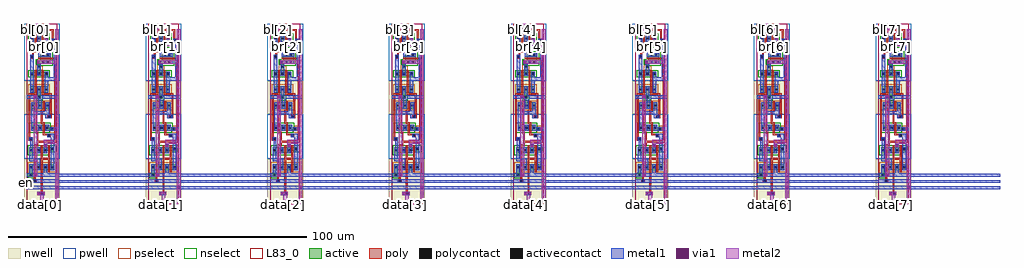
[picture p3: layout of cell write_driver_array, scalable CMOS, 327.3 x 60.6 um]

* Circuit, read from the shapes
.subckt write_driver_array bl[0] bl[1] bl[2] bl[3] bl[4] bl[5] bl[6] bl[7] br[0] br[1] br[2] br[3] br[4] br[5] br[6] br[7] data[0] data[1] data[2] data[3] data[4] data[5] data[6] data[7] en gnd vdd
M1 n1 en n2 gnd nfet w=2.1u l=0.6u
M2 gnd n2 n3 gnd nfet w=1.2u l=0.6u
M3 n4 n5 bl[0] gnd nfet w=3.6u l=0.6u
M4 n6 en n7 gnd nfet w=2.1u l=0.6u
M5 n4 en gnd gnd nfet w=3.6u l=0.6u
M6 gnd data[0] n1 gnd nfet w=2.1u l=0.6u
M7 n5 n7 gnd gnd nfet w=1.2u l=0.6u
M8 br[0] n3 n4 gnd nfet w=3.6u l=0.6u
M9 gnd n8 n6 gnd nfet w=2.1u l=0.6u
M10 n8 data[0] gnd gnd nfet w=1.2u l=0.6u
M11 n9 en n10 gnd nfet w=2.1u l=0.6u
M12 gnd n10 n11 gnd nfet w=1.2u l=0.6u
M13 n12 n13 bl[1] gnd nfet w=3.6u l=0.6u
M14 n14 en n15 gnd nfet w=2.1u l=0.6u
M15 n12 en gnd gnd nfet w=3.6u l=0.6u
M16 gnd data[1] n9 gnd nfet w=2.1u l=0.6u
M17 n13 n15 gnd gnd nfet w=1.2u l=0.6u
M18 br[1] n11 n12 gnd nfet w=3.6u l=0.6u
M19 gnd n16 n14 gnd nfet w=2.1u l=0.6u
M20 n16 data[1] gnd gnd nfet w=1.2u l=0.6u
M21 n17 en n18 gnd nfet w=2.1u l=0.6u
M22 gnd n18 n19 gnd nfet w=1.2u l=0.6u
M23 n20 n21 bl[2] gnd nfet w=3.6u l=0.6u
M24 n22 en n23 gnd nfet w=2.1u l=0.6u
M25 n20 en gnd gnd nfet w=3.6u l=0.6u
M26 gnd data[2] n17 gnd nfet w=2.1u l=0.6u
M27 n21 n23 gnd gnd nfet w=1.2u l=0.6u
M28 br[2] n19 n20 gnd nfet w=3.6u l=0.6u
M29 gnd n24 n22 gnd nfet w=2.1u l=0.6u
M30 n24 data[2] gnd gnd nfet w=1.2u l=0.6u
M31 n25 en n26 gnd nfet w=2.1u l=0.6u
M32 gnd n26 n27 gnd nfet w=1.2u l=0.6u
M33 n28 n29 bl[3] gnd nfet w=3.6u l=0.6u
M34 n30 en n31 gnd nfet w=2.1u l=0.6u
M35 n28 en gnd gnd nfet w=3.6u l=0.6u
M36 gnd data[3] n25 gnd nfet w=2.1u l=0.6u
M37 n29 n31 gnd gnd nfet w=1.2u l=0.6u
M38 br[3] n27 n28 gnd nfet w=3.6u l=0.6u
M39 gnd n32 n30 gnd nfet w=2.1u l=0.6u
M40 n32 data[3] gnd gnd nfet w=1.2u l=0.6u
M41 n33 en n34 gnd nfet w=2.1u l=0.6u
M42 gnd n34 n35 gnd nfet w=1.2u l=0.6u
M43 n36 n37 bl[4] gnd nfet w=3.6u l=0.6u
M44 n38 en n39 gnd nfet w=2.1u l=0.6u
M45 n36 en gnd gnd nfet w=3.6u l=0.6u
M46 gnd data[4] n33 gnd nfet w=2.1u l=0.6u
M47 n37 n39 gnd gnd nfet w=1.2u l=0.6u
M48 br[4] n35 n36 gnd nfet w=3.6u l=0.6u
M49 gnd n40 n38 gnd nfet w=2.1u l=0.6u
M50 n40 data[4] gnd gnd nfet w=1.2u l=0.6u
M51 n41 en n42 gnd nfet w=2.1u l=0.6u
M52 gnd n42 n43 gnd nfet w=1.2u l=0.6u
M53 n44 n45 bl[5] gnd nfet w=3.6u l=0.6u
M54 n46 en n47 gnd nfet w=2.1u l=0.6u
M55 n44 en gnd gnd nfet w=3.6u l=0.6u
M56 gnd data[5] n41 gnd nfet w=2.1u l=0.6u
M57 n45 n47 gnd gnd nfet w=1.2u l=0.6u
M58 br[5] n43 n44 gnd nfet w=3.6u l=0.6u
M59 gnd n48 n46 gnd nfet w=2.1u l=0.6u
M60 n48 data[5] gnd gnd nfet w=1.2u l=0.6u
M61 n49 en n50 gnd nfet w=2.1u l=0.6u
M62 gnd n50 n51 gnd nfet w=1.2u l=0.6u
M63 n52 n53 bl[6] gnd nfet w=3.6u l=0.6u
M64 n54 en n55 gnd nfet w=2.1u l=0.6u
M65 n52 en gnd gnd nfet w=3.6u l=0.6u
M66 gnd data[6] n49 gnd nfet w=2.1u l=0.6u
M67 n53 n55 gnd gnd nfet w=1.2u l=0.6u
M68 br[6] n51 n52 gnd nfet w=3.6u l=0.6u
M69 gnd n56 n54 gnd nfet w=2.1u l=0.6u
M70 n56 data[6] gnd gnd nfet w=1.2u l=0.6u
M71 n57 en n58 gnd nfet w=2.1u l=0.6u
M72 gnd n58 n59 gnd nfet w=1.2u l=0.6u
M73 n60 n61 bl[7] gnd nfet w=3.6u l=0.6u
M74 n62 en n63 gnd nfet w=2.1u l=0.6u
M75 n60 en gnd gnd nfet w=3.6u l=0.6u
M76 gnd data[7] n57 gnd nfet w=2.1u l=0.6u
M77 n61 n63 gnd gnd nfet w=1.2u l=0.6u
M78 br[7] n59 n60 gnd nfet w=3.6u l=0.6u
M79 gnd n64 n62 gnd nfet w=2.1u l=0.6u
M80 n64 data[7] gnd gnd nfet w=1.2u l=0.6u
M81 n2 en vdd vdd pfet w=2.1u l=0.6u
M82 vdd n2 n3 vdd pfet w=2.1u l=0.6u
M83 vdd en n7 vdd pfet w=2.1u l=0.6u
M84 vdd data[0] n2 vdd pfet w=2.1u l=0.6u
M85 n5 n7 vdd vdd pfet w=2.1u l=0.6u
M86 n7 n8 vdd vdd pfet w=2.1u l=0.6u
M87 n8 data[0] vdd vdd pfet w=2.1u l=0.6u
M88 n10 en vdd vdd pfet w=2.1u l=0.6u
M89 vdd n10 n11 vdd pfet w=2.1u l=0.6u
M90 vdd en n15 vdd pfet w=2.1u l=0.6u
M91 vdd data[1] n10 vdd pfet w=2.1u l=0.6u
M92 n13 n15 vdd vdd pfet w=2.1u l=0.6u
M93 n15 n16 vdd vdd pfet w=2.1u l=0.6u
M94 n16 data[1] vdd vdd pfet w=2.1u l=0.6u
M95 n18 en vdd vdd pfet w=2.1u l=0.6u
M96 vdd n18 n19 vdd pfet w=2.1u l=0.6u
M97 vdd en n23 vdd pfet w=2.1u l=0.6u
M98 vdd data[2] n18 vdd pfet w=2.1u l=0.6u
M99 n21 n23 vdd vdd pfet w=2.1u l=0.6u
M100 n23 n24 vdd vdd pfet w=2.1u l=0.6u
M101 n24 data[2] vdd vdd pfet w=2.1u l=0.6u
M102 n26 en vdd vdd pfet w=2.1u l=0.6u
M103 vdd n26 n27 vdd pfet w=2.1u l=0.6u
M104 vdd en n31 vdd pfet w=2.1u l=0.6u
M105 vdd data[3] n26 vdd pfet w=2.1u l=0.6u
M106 n29 n31 vdd vdd pfet w=2.1u l=0.6u
M107 n31 n32 vdd vdd pfet w=2.1u l=0.6u
M108 n32 data[3] vdd vdd pfet w=2.1u l=0.6u
M109 n34 en vdd vdd pfet w=2.1u l=0.6u
M110 vdd n34 n35 vdd pfet w=2.1u l=0.6u
M111 vdd en n39 vdd pfet w=2.1u l=0.6u
M112 vdd data[4] n34 vdd pfet w=2.1u l=0.6u
M113 n37 n39 vdd vdd pfet w=2.1u l=0.6u
M114 n39 n40 vdd vdd pfet w=2.1u l=0.6u
M115 n40 data[4] vdd vdd pfet w=2.1u l=0.6u
M116 n42 en vdd vdd pfet w=2.1u l=0.6u
M117 vdd n42 n43 vdd pfet w=2.1u l=0.6u
M118 vdd en n47 vdd pfet w=2.1u l=0.6u
M119 vdd data[5] n42 vdd pfet w=2.1u l=0.6u
M120 n45 n47 vdd vdd pfet w=2.1u l=0.6u
M121 n47 n48 vdd vdd pfet w=2.1u l=0.6u
M122 n48 data[5] vdd vdd pfet w=2.1u l=0.6u
M123 n50 en vdd vdd pfet w=2.1u l=0.6u
M124 vdd n50 n51 vdd pfet w=2.1u l=0.6u
M125 vdd en n55 vdd pfet w=2.1u l=0.6u
M126 vdd data[6] n50 vdd pfet w=2.1u l=0.6u
M127 n53 n55 vdd vdd pfet w=2.1u l=0.6u
M128 n55 n56 vdd vdd pfet w=2.1u l=0.6u
M129 n56 data[6] vdd vdd pfet w=2.1u l=0.6u
M130 n58 en vdd vdd pfet w=2.1u l=0.6u
M131 vdd n58 n59 vdd pfet w=2.1u l=0.6u
M132 vdd en n63 vdd pfet w=2.1u l=0.6u
M133 vdd data[7] n58 vdd pfet w=2.1u l=0.6u
M134 n61 n63 vdd vdd pfet w=2.1u l=0.6u
M135 n63 n64 vdd vdd pfet w=2.1u l=0.6u
M136 n64 data[7] vdd vdd pfet w=2.1u l=0.6u
.ends

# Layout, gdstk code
import gdstk
lib = gdstk.Library(unit=1e-6, precision=1e-09)
def R(c, l, rs):  # rectangles x0, y0, x1, y1
    for r in rs: c.add(gdstk.rectangle(r[:2], r[2:], *l))
def A(c, l, x, y, w, h, nx, ny, dx, dy):  # array of equal rectangles
    R(c, l, [(x+i*dx, y+j*dy, x+i*dx+w, y+j*dy+h) for i in range(nx) for j in range(ny)])
pwell = (41, 0)
nwell = (42, 0)
active = (43, 0)
pselect = (44, 0)
nselect = (45, 0)
poly = (46, 0)
polycontact = (47, 0)
activecontact = (48, 0)
metal1 = (49, 0)
via1 = (50, 0)
metal2 = (51, 0)
L83_0 = (83, 0)

write_driver = lib.new_cell('write_driver')
R(write_driver, pwell, [(-0.9,15.3,11.1,30.3), (-0.9,41.4,11.1,60.6)])
R(write_driver, nwell, [(-0.9,0,11.1,15.3), (-0.9,30.3,11.1,41.4)])
R(write_driver, active, [(0.9,9.3,2.1,11.4), (0.9,11.4,9.3,13.5), (0.9,17.1,6.9,18), (0.9,18,9.3,19.2), (1.5,24.6,9,25.8), (1.5,25.8,7.5,26.7), (1.5,32.1,7.5,34.2), (3.6,35.4,4.8,37.5), (1.2,37.5,7.2,39.6), (1.2,43.2,7.2,44.4), (3.6,45.6,4.8,47.1), (3.6,47.1,8.1,48), (4.5,48,8.1,50.7), (1.2,53.1,7.2,56.7)])
R(write_driver, pselect, [(0.3,10.5,2.7,10.8), (0.3,10.8,9.9,14.1), (7.8,24,9.6,25.8), (8.1,25.8,9.6,26.4), (0.9,31.5,8.1,34.8), (3,36.6,5.4,36.9), (0.6,36.9,7.8,40.2), (3,45,5.4,46.5), (3,46.5,4.8,46.8)])
R(write_driver, nselect, [(0.3,8.7,2.7,10.5), (0.3,16.5,7.5,17.4), (0.3,17.4,9.9,19.8), (0.9,24,7.8,25.8), (0.9,25.8,8.1,27.3), (3,34.8,5.4,36.6), (0.6,42.6,7.8,45), (4.8,46.5,8.7,46.8), (3,46.8,8.7,48.6), (3.9,48.6,8.7,51.3), (0.6,52.5,7.8,57.3)])
R(write_driver, poly, [(4.8,3,6,4.2), (4.8,4.2,5.4,15), (2.1,7.2,3.3,8.4), (2.4,8.4,3,19.5), (7.2,10.8,7.8,15), (4.8,15,7.8,15.6), (4.8,15.6,5.4,19.8), (7.2,15.6,7.8,19.8), (2.4,19.5,3.9,20.1), (3.3,20.1,3.9,20.7), (3.3,20.7,9.9,21.3), (0.6,21.3,2.1,22.5), (3.3,21.3,3.9,23.7), (9.3,21.3,9.9,48.6), (0.6,22.5,1.2,36.6), (6.9,22.5,8.1,23.1), (5.4,23.1,8.1,23.7), (3,23.7,3.9,24.3), (5.4,23.7,6,27), (3,24.3,3.6,34.8), (4.8,27,6,27.6), (4.8,27.6,5.4,31.2), (6.9,28.8,8.4,30), (7.8,30,8.4,36.6), (4.8,31.2,6,31.8), (5.4,31.8,6,34.8), (0.6,36.6,3.3,37.2), (5.1,36.6,8.4,37.2), (2.7,37.2,3.3,45), (5.1,37.2,5.7,45), (3.9,48.6,9.9,49.2), (1.2,48.9,2.4,50.1), (1.8,50.1,2.4,51), (1.8,51,5.7,51.6), (5.1,51.6,5.7,57.3), (2.7,52.5,3.3,58.2), (8.4,54.3,9.6,55.5), (8.4,55.5,9,58.2), (2.7,58.2,9,58.8)])
R(write_driver, polycontact, [(5.1,3.3,5.7,3.9), (2.4,7.5,3,8.1), (1.2,21.6,1.8,22.2), (7.2,22.8,7.8,23.4), (7.2,29.1,7.8,29.7), (1.5,49.2,2.1,49.8), (8.7,54.6,9.3,55.2)])
A(write_driver, activecontact, 1.2, 12.15, 0.6, 0.6, 4, 1, 2.4, 0)
A(write_driver, activecontact, 1.2, 17.85, 0.6, 0.6, 3, 1, 2.4, 0)
A(write_driver, activecontact, 1.8, 25.35, 0.6, 0.6, 3, 2, 2.4, 7.5)
A(write_driver, activecontact, 1.5, 38.25, 0.6, 0.6, 3, 2, 2.4, 5.25)
A(write_driver, activecontact, 1.5, 53.85, 0.6, 0.6, 3, 2, 2.4, 1.5)
R(write_driver, activecontact, [(1.2,9.6,1.8,10.2), (8.4,18.3,9,18.9), (8.1,24.9,8.7,25.5), (3.9,35.7,4.5,36.3), (3.9,45.9,4.5,46.5), (5.25,47.4,5.85,48), (6.75,47.4,7.35,48), (5.25,49.8,5.85,50.4), (6.75,49.8,7.35,50.4)])
R(write_driver, metal1, [(3.6,3,6,4.2), (0,5.1,10.8,6.3), (0,5.1,10.8,6.3), (0,7.2,10.8,8.4), (0,7.2,10.8,8.4), (0,9.3,10.8,10.5), (0,9.3,10.8,10.5), (0.9,10.5,2.1,13.5), (5.7,10.5,6.9,13.5), (3.3,11.4,4.5,14.4), (8.1,11.4,9.3,22.5), (0.9,14.4,4.5,15.3), (0.9,15.3,2.1,19.2), (3.3,17.1,4.5,19.2), (5.7,17.1,6.9,20.4), (1.2,19.2,2.1,21.3), (0.9,21.3,2.1,22.5), (6.9,22.5,9.3,23.7), (1.5,24.6,2.7,30.3), (3.9,24.6,5.1,26.7), (6.3,24.6,10.2,25.8), (6.3,25.8,7.5,26.7), (6.3,28.8,8.1,30), (6.3,30,7.5,30.3), (1.5,30.3,7.5,31.2), (1.5,31.2,2.7,34.2), (6.3,31.2,7.5,34.2), (3.9,32.1,5.1,35.4), (0,35.4,10.8,36.6), (3.6,36.6,4.8,39.6), (1.2,37.5,2.4,50.1), (6,37.5,7.2,41.4), (6,41.4,9.9,42.6), (6,42.6,7.2,44.4), (9,42.6,9.9,54.3), (3.6,43.2,4.8,47.1), (3.3,47.1,8.1,48.3), (3.9,49.5,8.1,50.7), (3.9,50.7,4.8,53.1), (1.2,53.1,2.4,56.7), (3.6,53.1,4.8,56.7), (6,53.1,7.2,57.9), (8.4,54.3,9.9,55.5), (1.5,56.7,2.4,57.3), (1.5,57.3,2.7,58.5)])
R(write_driver, via1, [(3.9,3.3,4.5,3.9), (9.9,5.4,10.5,6), (2.7,9.6,3.3,10.2), (6,19.5,6.6,20.1), (9.3,24.9,9.9,25.5), (2.7,35.7,3.3,36.3), (3.6,47.4,4.2,48), (6.3,57,6.9,57.6), (1.8,57.6,2.4,58.2)])
R(write_driver, metal2, [(4.5,0,5.7,3), (4.5,0,5.7,3), (9.6,0,10.8,20.4), (3.6,3,6,4.2), (2.4,9.3,3.6,36.6), (5.7,19.2,6.9,20.4), (5.7,20.4,10.8,21.6), (9.6,21.6,10.8,24.6), (9,24.6,10.8,25.8), (9.6,25.8,10.8,47.1), (3.3,47.1,10.8,48.3), (9.6,48.3,10.8,58.8), (6,53.1,7.2,60.6), (6,53.1,7.2,60.6), (1.5,57.3,4.2,58.5), (3,58.5,4.2,60.6), (3,58.5,4.2,60.6)])
R(write_driver, L83_0, [(0,0,10.2,60.6)])
write_driver.add(gdstk.Label('vdd', (0,9.3), layer=49, texttype=0))
write_driver.add(gdstk.Label('gnd', (0,5.1), layer=49, texttype=0))
write_driver.add(gdstk.Label('din', (4.5,0.3), layer=51, texttype=0))
write_driver.add(gdstk.Label('en', (0.6,7.5), layer=49, texttype=0))
write_driver.add(gdstk.Label('bl', (3.6,60), layer=51, texttype=0))
write_driver.add(gdstk.Label('br', (6.6,60), layer=51, texttype=0))
write_driver.add(gdstk.Label('din', (4.5,0), layer=51, texttype=0))
write_driver.add(gdstk.Label('en', (0,7.2), layer=49, texttype=0))
write_driver.add(gdstk.Label('br', (6,53.1), layer=51, texttype=0))
write_driver.add(gdstk.Label('bl', (3,58.5), layer=51, texttype=0))
write_driver.add(gdstk.Label('vdd', (0,9.3), layer=49, texttype=0))
write_driver.add(gdstk.Label('gnd', (0,5.1), layer=49, texttype=0))

write_driver_array = lib.new_cell('write_driver_array')
R(write_driver_array, metal1, [(0,5.1,326.4,6), (0,5.1,326.4,6), (0,7.2,326.4,8.1), (0,7.2,326.4,8.1), (0,9.3,326.4,10.2), (0,9.3,326.4,10.2)])
R(write_driver_array, metal2, [(4.5,0,5.7,3), (4.5,0,5.7,3), (45.3,0,46.5,3), (45.3,0,46.5,3), (86.1,0,87.3,3), (86.1,0,87.3,3), (126.9,0,128.1,3), (126.9,0,128.1,3), (167.7,0,168.9,3), (167.7,0,168.9,3), (208.5,0,209.7,3), (208.5,0,209.7,3), (249.3,0,250.5,3), (249.3,0,250.5,3), (290.1,0,291.3,3), (290.1,0,291.3,3), (6,53.1,7.2,60.6), (6,53.1,7.2,60.6), (46.8,53.1,48,60.6), (46.8,53.1,48,60.6), (87.6,53.1,88.8,60.6), (87.6,53.1,88.8,60.6), (128.4,53.1,129.6,60.6), (128.4,53.1,129.6,60.6), (169.2,53.1,170.4,60.6), (169.2,53.1,170.4,60.6), (210,53.1,211.2,60.6), (210,53.1,211.2,60.6), (250.8,53.1,252,60.6), (250.8,53.1,252,60.6), (291.6,53.1,292.8,60.6), (291.6,53.1,292.8,60.6), (3,58.5,4.2,60.6), (3,58.5,4.2,60.6), (43.8,58.5,45,60.6), (43.8,58.5,45,60.6), (84.6,58.5,85.8,60.6), (84.6,58.5,85.8,60.6), (125.4,58.5,126.6,60.6), (125.4,58.5,126.6,60.6), (166.2,58.5,167.4,60.6), (166.2,58.5,167.4,60.6), (207,58.5,208.2,60.6), (207,58.5,208.2,60.6), (247.8,58.5,249,60.6), (247.8,58.5,249,60.6), (288.6,58.5,289.8,60.6), (288.6,58.5,289.8,60.6)])
write_driver_array.add(gdstk.Reference(write_driver, (0,0)))
write_driver_array.add(gdstk.Reference(write_driver, (40.8,0)))
write_driver_array.add(gdstk.Reference(write_driver, (81.6,0)))
write_driver_array.add(gdstk.Reference(write_driver, (122.4,0)))
write_driver_array.add(gdstk.Reference(write_driver, (163.2,0)))
write_driver_array.add(gdstk.Reference(write_driver, (204,0)))
write_driver_array.add(gdstk.Reference(write_driver, (244.8,0)))
write_driver_array.add(gdstk.Reference(write_driver, (285.6,0)))
write_driver_array.add(gdstk.Reference(write_driver, (0,0)))
write_driver_array.add(gdstk.Reference(write_driver, (40.8,0)))
write_driver_array.add(gdstk.Reference(write_driver, (81.6,0)))
write_driver_array.add(gdstk.Reference(write_driver, (122.4,0)))
write_driver_array.add(gdstk.Reference(write_driver, (163.2,0)))
write_driver_array.add(gdstk.Reference(write_driver, (204,0)))
write_driver_array.add(gdstk.Reference(write_driver, (244.8,0)))
write_driver_array.add(gdstk.Reference(write_driver, (285.6,0)))
write_driver_array.add(gdstk.Label('data[0]', (4.5,0), layer=51, texttype=0))
write_driver_array.add(gdstk.Label('en', (0,7.2), layer=49, texttype=0))
write_driver_array.add(gdstk.Label('br[2]', (87.6,53.1), layer=51, texttype=0))
write_driver_array.add(gdstk.Label('br[6]', (250.8,53.1), layer=51, texttype=0))
write_driver_array.add(gdstk.Label('br[0]', (6,53.1), layer=51, texttype=0))
write_driver_array.add(gdstk.Label('br[4]', (169.2,53.1), layer=51, texttype=0))
write_driver_array.add(gdstk.Label('bl[1]', (43.8,58.5), layer=51, texttype=0))
write_driver_array.add(gdstk.Label('bl[3]', (125.4,58.5), layer=51, texttype=0))
write_driver_array.add(gdstk.Label('bl[7]', (288.6,58.5), layer=51, texttype=0))
write_driver_array.add(gdstk.Label('bl[5]', (207,58.5), layer=51, texttype=0))
write_driver_array.add(gdstk.Label('data[6]', (249.3,0), layer=51, texttype=0))
write_driver_array.add(gdstk.Label('data[2]', (86.1,0), layer=51, texttype=0))
write_driver_array.add(gdstk.Label('data[4]', (167.7,0), layer=51, texttype=0))
write_driver_array.add(gdstk.Label('data[1]', (45.3,0), layer=51, texttype=0))
write_driver_array.add(gdstk.Label('data[3]', (126.9,0), layer=51, texttype=0))
write_driver_array.add(gdstk.Label('br[3]', (128.4,53.1), layer=51, texttype=0))
write_driver_array.add(gdstk.Label('br[1]', (46.8,53.1), layer=51, texttype=0))
write_driver_array.add(gdstk.Label('br[5]', (210,53.1), layer=51, texttype=0))
write_driver_array.add(gdstk.Label('br[7]', (291.6,53.1), layer=51, texttype=0))
write_driver_array.add(gdstk.Label('bl[0]', (3,58.5), layer=51, texttype=0))
write_driver_array.add(gdstk.Label('bl[4]', (166.2,58.5), layer=51, texttype=0))
write_driver_array.add(gdstk.Label('bl[2]', (84.6,58.5), layer=51, texttype=0))
write_driver_array.add(gdstk.Label('data[7]', (290.1,0), layer=51, texttype=0))
write_driver_array.add(gdstk.Label('bl[6]', (247.8,58.5), layer=51, texttype=0))
write_driver_array.add(gdstk.Label('vdd', (0,9.3), layer=49, texttype=0))
write_driver_array.add(gdstk.Label('gnd', (0,5.1), layer=49, texttype=0))
write_driver_array.add(gdstk.Label('data[5]', (208.5,0), layer=51, texttype=0))
write_driver_array.add(gdstk.Label('data[0]', (4.5,0), layer=51, texttype=0))
write_driver_array.add(gdstk.Label('en', (0,7.2), layer=49, texttype=0))
write_driver_array.add(gdstk.Label('br[2]', (87.6,53.1), layer=51, texttype=0))
write_driver_array.add(gdstk.Label('br[6]', (250.8,53.1), layer=51, texttype=0))
write_driver_array.add(gdstk.Label('br[0]', (6,53.1), layer=51, texttype=0))
write_driver_array.add(gdstk.Label('br[4]', (169.2,53.1), layer=51, texttype=0))
write_driver_array.add(gdstk.Label('bl[1]', (43.8,58.5), layer=51, texttype=0))
write_driver_array.add(gdstk.Label('bl[3]', (125.4,58.5), layer=51, texttype=0))
write_driver_array.add(gdstk.Label('bl[7]', (288.6,58.5), layer=51, texttype=0))
write_driver_array.add(gdstk.Label('bl[5]', (207,58.5), layer=51, texttype=0))
write_driver_array.add(gdstk.Label('data[6]', (249.3,0), layer=51, texttype=0))
write_driver_array.add(gdstk.Label('data[2]', (86.1,0), layer=51, texttype=0))
write_driver_array.add(gdstk.Label('data[4]', (167.7,0), layer=51, texttype=0))
write_driver_array.add(gdstk.Label('data[1]', (45.3,0), layer=51, texttype=0))
write_driver_array.add(gdstk.Label('data[3]', (126.9,0), layer=51, texttype=0))
write_driver_array.add(gdstk.Label('br[3]', (128.4,53.1), layer=51, texttype=0))
write_driver_array.add(gdstk.Label('br[1]', (46.8,53.1), layer=51, texttype=0))
write_driver_array.add(gdstk.Label('br[5]', (210,53.1), layer=51, texttype=0))
write_driver_array.add(gdstk.Label('br[7]', (291.6,53.1), layer=51, texttype=0))
write_driver_array.add(gdstk.Label('bl[0]', (3,58.5), layer=51, texttype=0))
write_driver_array.add(gdstk.Label('bl[4]', (166.2,58.5), layer=51, texttype=0))
write_driver_array.add(gdstk.Label('bl[2]', (84.6,58.5), layer=51, texttype=0))
write_driver_array.add(gdstk.Label('data[7]', (290.1,0), layer=51, texttype=0))
write_driver_array.add(gdstk.Label('bl[6]', (247.8,58.5), layer=51, texttype=0))
write_driver_array.add(gdstk.Label('vdd', (0,9.3), layer=49, texttype=0))
write_driver_array.add(gdstk.Label('gnd', (0,5.1), layer=49, texttype=0))
write_driver_array.add(gdstk.Label('data[5]', (208.5,0), layer=51, texttype=0))

lib.write_gds('write_driver_array.gds')
